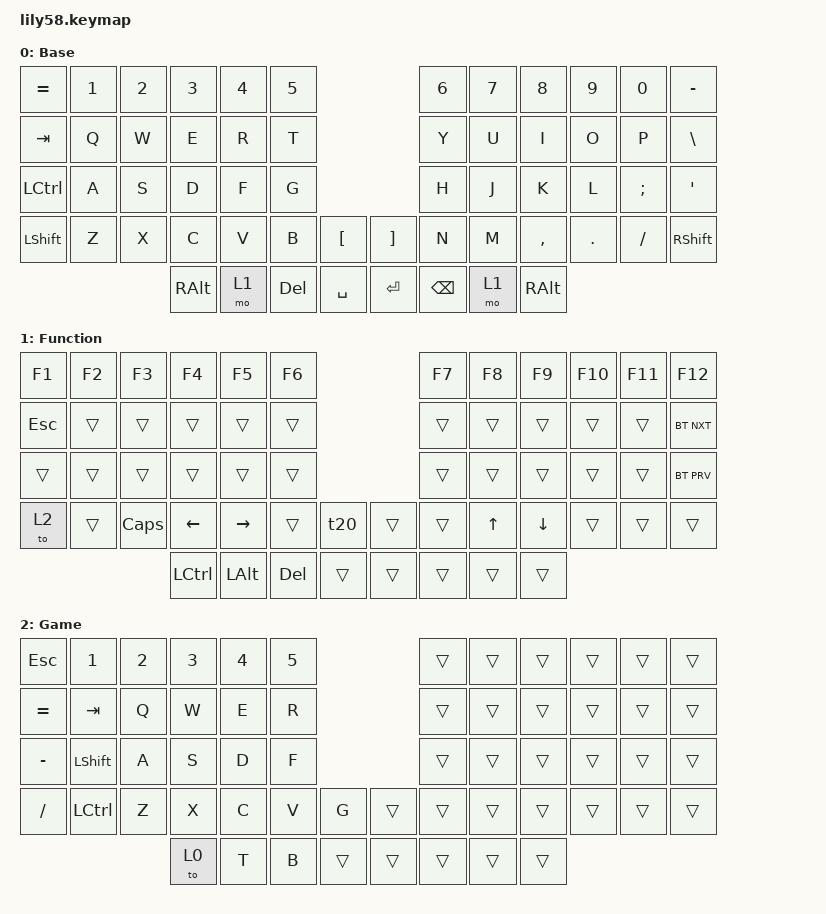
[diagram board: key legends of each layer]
/*
 * Copyright (c) 2020 The ZMK Contributors
 *
 * SPDX-License-Identifier: MIT
 */

#include <behaviors.dtsi>
#include <dt-bindings/zmk/bt.h>
#include <dt-bindings/zmk/keys.h>

/ {
    combos {
        compatible = "zmk,combos";

        L2G {
            bindings = <&to 2>;
            key-positions = <56 3>;
        };

        L2B {
            bindings = <&to 0>;
            key-positions = <56 1>;
        };

        L2F {
            bindings = <&to 1>;
            key-positions = <2 56>;
        };
    };

    macros {
        t20: t20 {
            compatible = "zmk,behavior-macro";
            #binding-cells = <0>;
            bindings = <&kp LS(T) &kp N2 &kp N0 &kp LS(L) &kp LS(E) &kp LS(T)>;
            label = "T20";
        };
    };

    keymap {
        compatible = "zmk,keymap";

        Base {
            // ------------------------------------------------------------------------------------------------------------
            // |  ESC  |  1  |  2  |  3   |  4   |  5   |                   |  6   |  7    |  8    |  9   |   0   |   `   |
            // |  TAB  |  Q  |  W  |  E   |  R   |  T   |                   |  Y   |  U    |  I    |  O   |   P   |   -   |
            // |  CTRL |  A  |  S  |  D   |  F   |  G   |                   |  H   |  J    |  K    |  L   |   ;   |   '   |
            // | SHIFT |  Z  |  X  |  C   |  V   |  B   |   "["  |  |  "]"  |  N   |  M    |  ,    |  .   |   /   | SHIFT |
            //                     | ALT  | GUI  | LOWER|  SPACE |  | ENTER | RAISE| BSPC  | GUI   |

            display-name = "Base";
            bindings = <
&kp EQUAL  &kp N1  &kp N2  &kp N3    &kp N4  &kp N5                          &kp N6         &kp N7  &kp N8     &kp N9   &kp N0         &kp MINUS
&kp TAB    &kp Q   &kp W   &kp E     &kp R   &kp T                           &kp Y          &kp U   &kp I      &kp O    &kp P          &kp BACKSLASH
&kp LCTRL  &kp A   &kp S   &kp D     &kp F   &kp G                           &kp H          &kp J   &kp K      &kp L    &kp SEMICOLON  &kp SQT
&kp LSHFT  &kp Z   &kp X   &kp C     &kp V   &kp B    &kp LBKT     &kp RBKT  &kp N          &kp M   &kp COMMA  &kp DOT  &kp FSLH       &kp RSHFT
                           &kp RALT  &mo 1   &kp DEL  &kp SPACE    &kp RET   &kp BACKSPACE  &mo 1   &kp RALT
            >;
        };

        Function {
            bindings = <
&kp F1   &kp F2  &kp F3    &kp F4     &kp F5        &kp F6                     &kp F7  &kp F8  &kp F9    &kp F10  &kp F11  &kp F12
&kp ESC  &trans  &trans    &trans     &trans        &trans                     &trans  &trans  &trans    &trans   &trans   &bt BT_NXT
&trans   &trans  &trans    &trans     &trans        &trans                     &trans  &trans  &trans    &trans   &trans   &bt BT_PRV
&to 2    &trans  &kp CAPS  &kp LEFT   &kp RIGHT     &trans   &t20      &trans  &trans  &kp UP  &kp DOWN  &trans   &trans   &trans
                           &kp LCTRL  &kp LEFT_ALT  &kp DEL  &trans    &trans  &trans  &trans  &trans
            >;
        };

        Game {
            bindings = <
&kp ESC    &kp N1     &kp N2  &kp N3  &kp N4  &kp N5                    &trans  &trans  &trans  &trans  &trans  &trans
&kp EQUAL  &kp TAB    &kp Q   &kp W   &kp E   &kp R                     &trans  &trans  &trans  &trans  &trans  &trans
&kp MINUS  &kp LSHFT  &kp A   &kp S   &kp D   &kp F                     &trans  &trans  &trans  &trans  &trans  &trans
&kp SLASH  &kp LCTRL  &kp Z   &kp X   &kp C   &kp V   &kp G     &trans  &trans  &trans  &trans  &trans  &trans  &trans
                              &to 0   &kp T   &kp B   &trans    &trans  &trans  &trans  &trans
            >;
        };
    };
};
